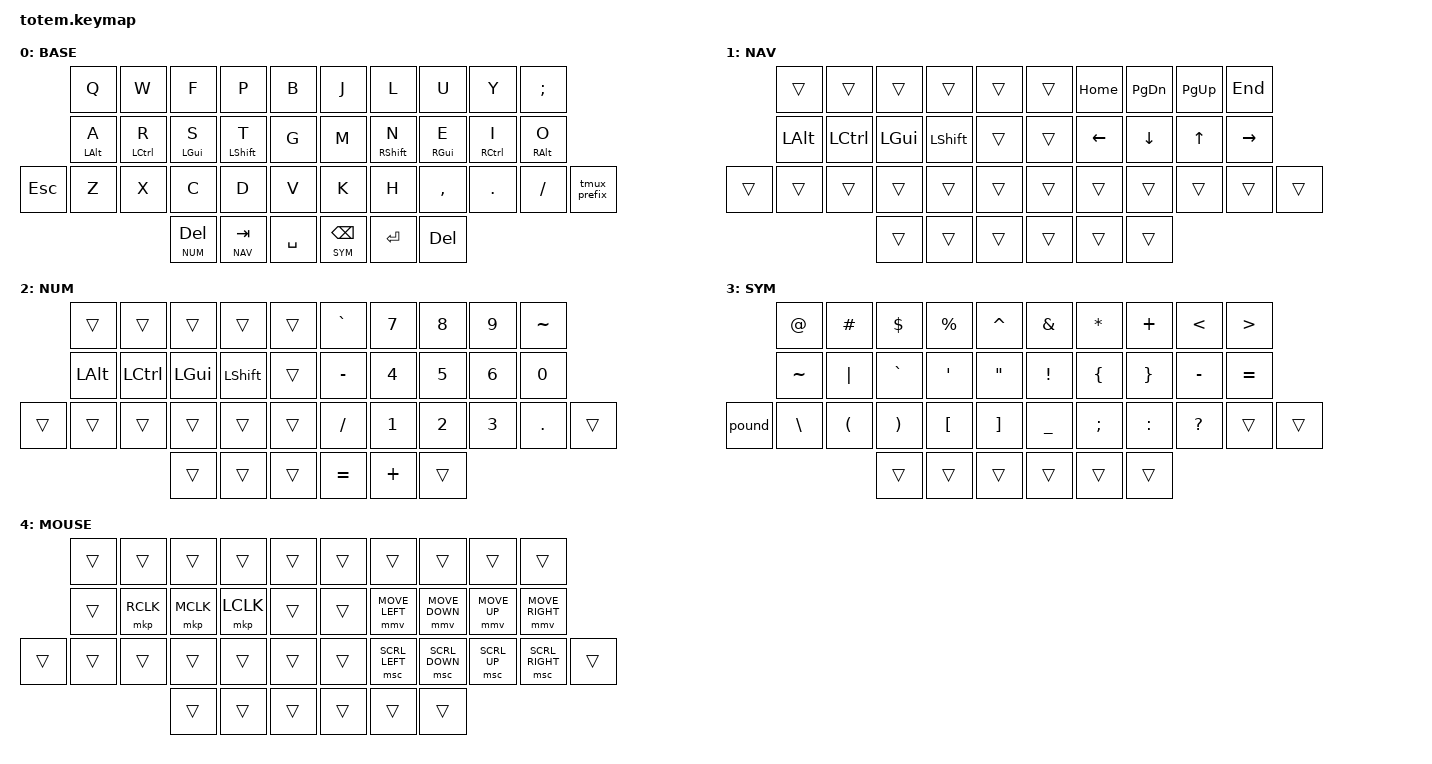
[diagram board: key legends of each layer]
// Mouse speed overrides (defaults: move=600, scroll=10)
#define ZMK_POINTING_DEFAULT_MOVE_VAL 1500
#define ZMK_POINTING_DEFAULT_SCRL_VAL 25

#include <behaviors.dtsi>
#include <dt-bindings/zmk/keys.h>
#include <dt-bindings/zmk/bt.h>
#include <dt-bindings/zmk/outputs.h>
#include <dt-bindings/zmk/mouse.h>

#define BASE  0
#define NAV   1
#define NUM   2
#define SYM   3
#define MOUSE 4

// Home-row mod settings
&mt {
    quick-tap-ms = <100>;
    global-quick-tap;
    flavor = "tap-preferred";
    tapping-term-ms = <170>;
};

// Mouse movement — accelerates the longer you hold
&mmv {
    time-to-max-speed-ms = <300>;
    acceleration-exponent = <2>;
};

&msc {
    time-to-max-speed-ms = <300>;
    acceleration-exponent = <1>;
};

// Layer-tap settings (for TAB/NAV, DEL/NUM, BSPC/SYM)
&lt {
    quick-tap-ms = <100>;
    flavor = "tap-preferred";
    tapping-term-ms = <170>;
};

/ {
    combos {
        compatible = "zmk,combos";

        // Tilde: f + p (positions 2 + 3)
        combo_tilde {
            timeout-ms = <50>;
            key-positions = <2 3>;
            bindings = <&kp TILDE>;
            layers = <BASE>;
        };

        // Pipe: l + u (positions 6 + 7)
        combo_pipe {
            timeout-ms = <50>;
            key-positions = <6 7>;
            bindings = <&kp PIPE>;
            layers = <BASE>;
        };

        // Backtick: w + f (positions 1 + 2)
        combo_backtick {
            timeout-ms = <50>;
            key-positions = <1 2>;
            bindings = <&kp GRAVE>;
            layers = <BASE>;
        };

        // Underscore: x + c (positions 22 + 23)
        combo_underscore {
            timeout-ms = <50>;
            key-positions = <22 23>;
            bindings = <&kp UNDER>;
            layers = <BASE>;
        };

        // Mouse toggle: both outer pinkies ESC + TMUX (positions 20 + 31)
        combo_mouse {
            timeout-ms = <150>;
            key-positions = <20 31>;
            bindings = <&tog MOUSE>;
        };
    };

    macros {
        // TMUX prefix — sends Ctrl+B
        tmux_prefix: tmux_prefix {
            compatible = "zmk,behavior-macro";
            #binding-cells = <0>;
            bindings = <&macro_tap &kp LC(B)>;
        };
        // Pound sign £ — Option+3 on macOS
        pound: pound {
            compatible = "zmk,behavior-macro";
            #binding-cells = <0>;
            bindings = <&macro_tap &kp LA(N3)>;
        };
    };

    keymap {
        compatible = "zmk,keymap";

        base_layer {
            label = "BASE";
// Colemak DHm + home-row mods
//             q       w       f       p       b           j       l       u       y       ;
//   ESC       a/GUI   r/ALT   s/CTL   t/SFT   g           m       n/SFT   e/CTL   i/ALT   o/GUI   TMUX
//             z       x       c       d       v           k       h       ,       .       /
//                             DEL/NUM TAB/NAV SPACE       BSPC/SYM ENTER  DEL
            bindings = <
                &kp Q       &kp W       &kp F       &kp P       &kp B           &kp J       &kp L       &kp U       &kp Y       &kp SEMI
                &mt LALT A  &mt LCTRL R &mt LGUI S  &mt LSHFT T &kp G           &kp M       &mt RSHFT N &mt RGUI E  &mt RCTRL I &mt RALT O
    &kp ESC     &kp Z       &kp X       &kp C       &kp D       &kp V           &kp K       &kp H       &kp COMMA   &kp DOT     &kp FSLH    &tmux_prefix
                                        &lt NUM DEL &lt NAV TAB  &kp SPACE       &lt SYM BSPC &kp RET    &kp DEL
            >;
        };

        nav_layer {
            label = "NAV";
// Navigation — hold TAB (left middle thumb), arrows on right home row
//             ___     ___     ___     ___     ___         ___     HOME    PG_DN   PG_UP   END
//   ___       GUI     ALT     CTL     SHIFT   ___         ___     LEFT    DOWN    UP      RIGHT   ___
//             ___     ___     ___     ___     ___         ___     ___     ___     ___     ___
//                             ___     ███     ___         ___     ___     ___
            bindings = <
                &trans      &trans      &trans      &trans      &trans          &trans      &kp HOME    &kp PG_DN   &kp PG_UP   &kp END
                &kp LALT    &kp LCTRL   &kp LGUI    &kp LSHFT   &trans          &trans      &kp LEFT    &kp DOWN    &kp UP      &kp RIGHT
    &trans      &trans      &trans      &trans      &trans      &trans          &trans      &trans      &trans      &trans      &trans      &trans
                                        &trans      &trans      &trans          &trans      &trans      &trans
            >;
        };

        num_layer {
            label = "NUM";
// Numpad — hold DEL (left inner thumb), numbers on right hand
//             ___     ___     ___     ___     ___         `       7       8       9       ~
//   ___       GUI     ALT     CTL     SHIFT   ___         -       4       5       6       0       ___
//             ___     ___     ___     ___     ___         /       1       2       3       .
//                             ███     ___     ___         =       +       ___
            bindings = <
                &trans      &trans      &trans      &trans      &trans          &kp GRAVE   &kp N7      &kp N8      &kp N9      &kp TILDE
                &kp LALT    &kp LCTRL   &kp LGUI    &kp LSHFT   &trans          &kp MINUS   &kp N4      &kp N5      &kp N6      &kp N0
    &trans      &trans      &trans      &trans      &trans      &trans          &kp FSLH    &kp N1      &kp N2      &kp N3      &kp DOT     &trans
                                        &trans      &trans      &trans          &kp EQUAL   &kp PLUS    &trans
            >;
        };

        sym_layer {
            label = "SYM";
// Symbols — hold BSPC (right inner thumb)
//             @       #       $       %       ^           &       *       +       <       >
//   £        ~       |       `       '       "           !       {       }       -       =       ___
//             \       (       )       [       ]           _       ;       :       ?       ___
//                             ___     ___     ___         ███     ___     ___
            bindings = <
                &kp AT      &kp HASH    &kp DLLR    &kp PRCNT   &kp CARET       &kp AMPS    &kp ASTRK   &kp PLUS    &kp LT      &kp GT
                &kp TILDE   &kp PIPE    &kp GRAVE   &kp SQT     &kp DQT         &kp EXCL    &kp LBRC    &kp RBRC    &kp MINUS   &kp EQUAL
    &pound      &kp BSLH    &kp LPAR    &kp RPAR    &kp LBKT    &kp RBKT        &kp UNDER   &kp SEMI    &kp COLON   &kp QMARK   &trans      &trans
                                        &trans      &trans      &trans          &trans      &trans      &trans
            >;
        };

        mouse_layer {
            label = "MOUSE";
// Mouse — toggle via both inner thumbs, movement on n/e/i/o
//             ___     ___     ___     ___     ___         ___     ___     ___     ___     ___
//   ___       ___     RCLK    MCLK    LCLK    ___         ___     MV←     MV↓     MV↑     MV→     ___
//             ___     ___     ___     ___     ___         ___     SC_L    SC_DN   SC_UP   SC_R
//                             ___     ___     ___         ___     ___     ___
            bindings = <
                &trans      &trans          &trans          &trans          &trans          &trans      &trans          &trans              &trans              &trans
                &trans      &mkp RCLK       &mkp MCLK       &mkp LCLK       &trans          &trans      &mmv MOVE_LEFT  &mmv MOVE_DOWN      &mmv MOVE_UP        &mmv MOVE_RIGHT
    &trans      &trans      &trans          &trans          &trans          &trans          &trans      &msc SCRL_LEFT  &msc SCRL_DOWN      &msc SCRL_UP        &msc SCRL_RIGHT     &trans
                                            &trans          &trans          &trans          &trans      &trans          &trans
            >;
        };
    };
};
